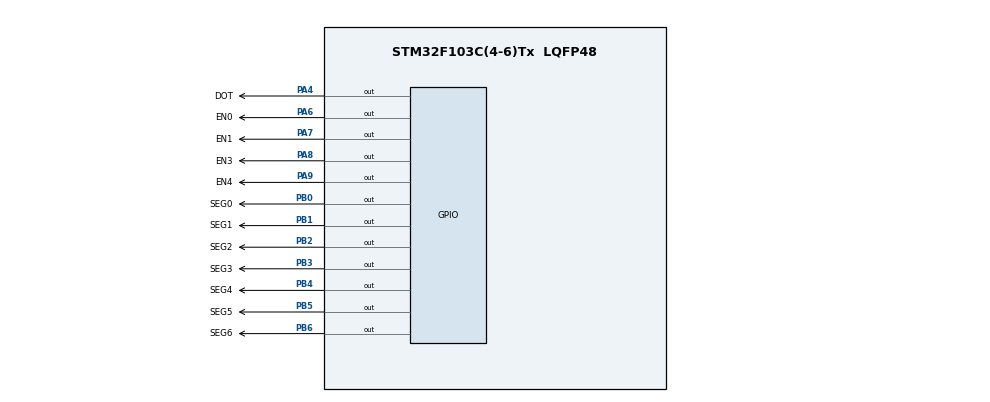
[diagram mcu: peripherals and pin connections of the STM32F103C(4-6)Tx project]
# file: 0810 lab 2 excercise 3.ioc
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Mcu.Family=STM32F1
Mcu.Name=STM32F103C(4-6)Tx
Mcu.Package=LQFP48
NVIC.PriorityGroup=NVIC_PRIORITYGROUP_4
NVIC.TIM2_IRQn=true\:0\:0\:false\:false\:true\:true\:true
PA4.GPIO_Label=DOT
PA4.Signal=GPIO_Output
PA6.GPIO_Label=EN0
PA6.Signal=GPIO_Output
PA7.GPIO_Label=EN1
PA7.Signal=GPIO_Output
PA8.GPIO_Label=EN3
PA8.Signal=GPIO_Output
PA9.GPIO_Label=EN4
PA9.Signal=GPIO_Output
PB0.GPIO_Label=SEG0
PB0.Signal=GPIO_Output
PB1.GPIO_Label=SEG1
PB1.Signal=GPIO_Output
PB2.GPIO_Label=SEG2
PB2.Signal=GPIO_Output
PB3.GPIO_Label=SEG3
PB3.Signal=GPIO_Output
PB4.GPIO_Label=SEG4
PB4.Signal=GPIO_Output
PB5.GPIO_Label=SEG5
PB5.Signal=GPIO_Output
PB6.GPIO_Label=SEG6
PB6.Signal=GPIO_Output
ProjectManager.HeapSize=0x200
ProjectManager.StackSize=0x400
ProjectManager.TargetToolchain=STM32CubeIDE
RCC.APB1Freq_Value=8000000
RCC.APB2Freq_Value=8000000
TIM2.Period=9
TIM2.Prescaler=7999
VP_SYS_VS_ND.Mode=No_Debug
VP_TIM2_VS_ClockSourceINT.Mode=Internal
board=custom

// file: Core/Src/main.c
/* USER CODE BEGIN Header */
// Trinh Tien Long, Student Login.
// MICROPROCESSORS-MICROCONTROLLERS (LAB) (CO3010) _ Mr. Nguyen
// Date: 30/10/2022
// Lab 2 - ex 5,6,7,8
// setTimer and timerRun in led7.c-ex6
// code have already been used for ex7,8
/* USER CODE END Header */
#include "main.h"

/* USER CODE BEGIN Includes */
#include "led7.h"
#include "timerforled.h"
/* USER CODE END Includes */

TIM_HandleTypeDef htim2;

void SystemClock_Config(void);
static void MX_TIM2_Init(void);
static void MX_GPIO_Init(void);

int main(void)
{

  /* MCU Configuration--------------------------------------------------------*/

  /* Reset of all peripherals, Initializes the Flash interface and the Systick. */
  HAL_Init();

  /* Configure the system clock */
  SystemClock_Config();

  /* Initialize all configured peripherals */
  MX_TIM2_Init();
  MX_GPIO_Init();
  /* USER CODE BEGIN 2 */
void OffAllLed()
{
	  HAL_GPIO_WritePin(GPIOA, GPIO_PIN_6, 1);//EN0 Off
	  HAL_GPIO_WritePin(GPIOA, GPIO_PIN_7, 1);//EN1 Off
	  HAL_GPIO_WritePin(GPIOA, GPIO_PIN_8, 1);//EN2 Off
	  HAL_GPIO_WritePin(GPIOA, GPIO_PIN_9, 1);//EN3 Off
}

	HAL_TIM_Base_Start_IT(&htim2);
  //initial state
	OffAllLed();
	int32_t realFlag=0;//real flag in main
	const int MAX_LED = 4;
	int index_led = 0;
	int led_buffer [4] = {1, 2, 3, 0};
	int delayEachLed = 25;//1Hz
	int hour = 15, minute = 8, second = 50;//exercise 5
void update7SEG ( int index )
  {
		switch (index)
		{
		case 0:
			realFlag=0;
			setTimer1(delayEachLed); //flag = 0 here
			OffAllLed();
			display7SEG(led_buffer[index]);
			HAL_GPIO_WritePin(GPIOA, GPIO_PIN_6, 0);//EN0 On
			break;
		case 1:
			realFlag=0;
			setTimer1(delayEachLed); //flag = 0 here
			OffAllLed();
			display7SEG(led_buffer[index]);
			HAL_GPIO_WritePin(GPIOA, GPIO_PIN_7, 0);//EN1 On
			break;
		case 2:
			realFlag=0;
			setTimer1(delayEachLed); //flag = 0 here
			OffAllLed();
			display7SEG(led_buffer[index]);
			HAL_GPIO_WritePin(GPIOA, GPIO_PIN_8, 0);//EN2 On
			break;
		case 3:
			realFlag=0;
			setTimer1(delayEachLed); //flag = 0 here
			OffAllLed();
			display7SEG(led_buffer[index]);
			HAL_GPIO_WritePin(GPIOA, GPIO_PIN_9, 0);//EN3 On
			break;
		default:
			break;
		}
  }

void clockRun()
{
  	second++;
  	if(second>=60)
  	{
  		second=0;
  		minute++;
  	}

  	if(minute>=60)
  	{
  		minute=0;
  		hour++;
  	}

  	if(hour>=60)
  	{
  		hour=0;
  	}
}

void updateClockBuffer()
{
	//hour and minute
//	if(hour>=10)
//	{
//		led_buffer[0]=1;
//		led_buffer[1]=hour%10;
//	}
//	else
//	{
//		led_buffer[0]=0;
//		led_buffer[1]=hour;
//	}
//	if(minute>=10)
//	{
//		led_buffer[2]=minute/10;
//		led_buffer[3]=minute%10;
//	}
//	else
//	{
//		led_buffer[2]=0;
//		led_buffer[3]=minute;
//	}

	//minute and second
	if(minute>=10)
	{
		led_buffer[0]=minute/10;
		led_buffer[1]=minute%10;
	}
	else
	{
		led_buffer[0]=0;
		led_buffer[1]=minute;
	}
	if(second>=10)
	{
		led_buffer[2]=second/10;
		led_buffer[3]=second%10;
	}
	else
	{
		led_buffer[2]=0;
		led_buffer[3]=second;
	}
}
  /* USER CODE END 2 */

  /* Infinite loop */
  /* USER CODE BEGIN WHILE */
  setTimer1(delayEachLed); //flag = 0 here
  while (1)
  {

		updateClockBuffer();
		realFlag=getFlag();//check flag
		while(realFlag==1)
		{
			if(index_led>(MAX_LED-1))//work every second
			{
				clockRun();//run every second
				index_led=0;
				HAL_GPIO_TogglePin(DOT_GPIO_Port, DOT_Pin);//dot every second
			}
			update7SEG(index_led++);
		}

    /* USER CODE END WHILE */

  }
}

void SystemClock_Config(void)
{
  RCC_OscInitTypeDef RCC_OscInitStruct = {0};
  RCC_ClkInitTypeDef RCC_ClkInitStruct = {0};

  /** Initializes the RCC Oscillators according to the specified parameters
  * in the RCC_OscInitTypeDef structure.
  */
  RCC_OscInitStruct.OscillatorType = RCC_OSCILLATORTYPE_HSI;
  RCC_OscInitStruct.HSIState = RCC_HSI_ON;
  RCC_OscInitStruct.HSICalibrationValue = RCC_HSICALIBRATION_DEFAULT;
  RCC_OscInitStruct.PLL.PLLState = RCC_PLL_NONE;
  if (HAL_RCC_OscConfig(&RCC_OscInitStruct) != HAL_OK)
  {
    Error_Handler();
  }
  /** Initializes the CPU, AHB and APB buses clocks
  */
  RCC_ClkInitStruct.ClockType = RCC_CLOCKTYPE_HCLK|RCC_CLOCKTYPE_SYSCLK
                              |RCC_CLOCKTYPE_PCLK1|RCC_CLOCKTYPE_PCLK2;
  RCC_ClkInitStruct.SYSCLKSource = RCC_SYSCLKSOURCE_HSI;
  RCC_ClkInitStruct.AHBCLKDivider = RCC_SYSCLK_DIV1;
  RCC_ClkInitStruct.APB1CLKDivider = RCC_HCLK_DIV1;
  RCC_ClkInitStruct.APB2CLKDivider = RCC_HCLK_DIV1;

  if (HAL_RCC_ClockConfig(&RCC_ClkInitStruct, FLASH_LATENCY_0) != HAL_OK)
  {
    Error_Handler();
  }
}

static void MX_TIM2_Init(void)
{

  TIM_ClockConfigTypeDef sClockSourceConfig = {0};
  TIM_MasterConfigTypeDef sMasterConfig = {0};

  htim2.Instance = TIM2;
  htim2.Init.Prescaler = 7999;
  htim2.Init.CounterMode = TIM_COUNTERMODE_UP;
  htim2.Init.Period = 9;
  htim2.Init.ClockDivision = TIM_CLOCKDIVISION_DIV1;
  htim2.Init.AutoReloadPreload = TIM_AUTORELOAD_PRELOAD_DISABLE;
  if (HAL_TIM_Base_Init(&htim2) != HAL_OK)
  {
    Error_Handler();
  }
  sClockSourceConfig.ClockSource = TIM_CLOCKSOURCE_INTERNAL;
  if (HAL_TIM_ConfigClockSource(&htim2, &sClockSourceConfig) != HAL_OK)
  {
    Error_Handler();
  }
  sMasterConfig.MasterOutputTrigger = TIM_TRGO_RESET;
  sMasterConfig.MasterSlaveMode = TIM_MASTERSLAVEMODE_DISABLE;
  if (HAL_TIMEx_MasterConfigSynchronization(&htim2, &sMasterConfig) != HAL_OK)
  {
    Error_Handler();
  }

}

static void MX_GPIO_Init(void)
{
  GPIO_InitTypeDef GPIO_InitStruct = {0};

  /* GPIO Ports Clock Enable */
  __HAL_RCC_GPIOA_CLK_ENABLE();
  __HAL_RCC_GPIOB_CLK_ENABLE();

  /*Configure GPIO pin Output Level */
  HAL_GPIO_WritePin(GPIOA, DOT_Pin|EN0_Pin|EN1_Pin|EN3_Pin
                          |EN4_Pin, GPIO_PIN_RESET);

  /*Configure GPIO pin Output Level */
  HAL_GPIO_WritePin(GPIOB, SEG0_Pin|SEG1_Pin|SEG2_Pin|SEG3_Pin
                          |SEG4_Pin|SEG5_Pin|SEG6_Pin, GPIO_PIN_RESET);

  /*Configure GPIO pins : DOT_Pin EN0_Pin EN1_Pin EN3_Pin
                           EN4_Pin */
  GPIO_InitStruct.Pin = DOT_Pin|EN0_Pin|EN1_Pin|EN3_Pin
                          |EN4_Pin;
  GPIO_InitStruct.Mode = GPIO_MODE_OUTPUT_PP;
  GPIO_InitStruct.Pull = GPIO_NOPULL;
  GPIO_InitStruct.Speed = GPIO_SPEED_FREQ_LOW;
  HAL_GPIO_Init(GPIOA, &GPIO_InitStruct);

  /*Configure GPIO pins : SEG0_Pin SEG1_Pin SEG2_Pin SEG3_Pin
                           SEG4_Pin SEG5_Pin SEG6_Pin */
  GPIO_InitStruct.Pin = SEG0_Pin|SEG1_Pin|SEG2_Pin|SEG3_Pin
                          |SEG4_Pin|SEG5_Pin|SEG6_Pin;
  GPIO_InitStruct.Mode = GPIO_MODE_OUTPUT_PP;
  GPIO_InitStruct.Pull = GPIO_NOPULL;
  GPIO_InitStruct.Speed = GPIO_SPEED_FREQ_LOW;
  HAL_GPIO_Init(GPIOB, &GPIO_InitStruct);

}

/* USER CODE BEGIN 4 */

void HAL_TIM_PeriodElapsedCallback(TIM_HandleTypeDef *htim2)
{
	timerRun();

}
/* USER CODE END 4 */

void Error_Handler(void)
{
  __disable_irq();
  while (1)
  {
  }
}

/************************ (C) COPYRIGHT STMicroelectronics *****END OF FILE****/
